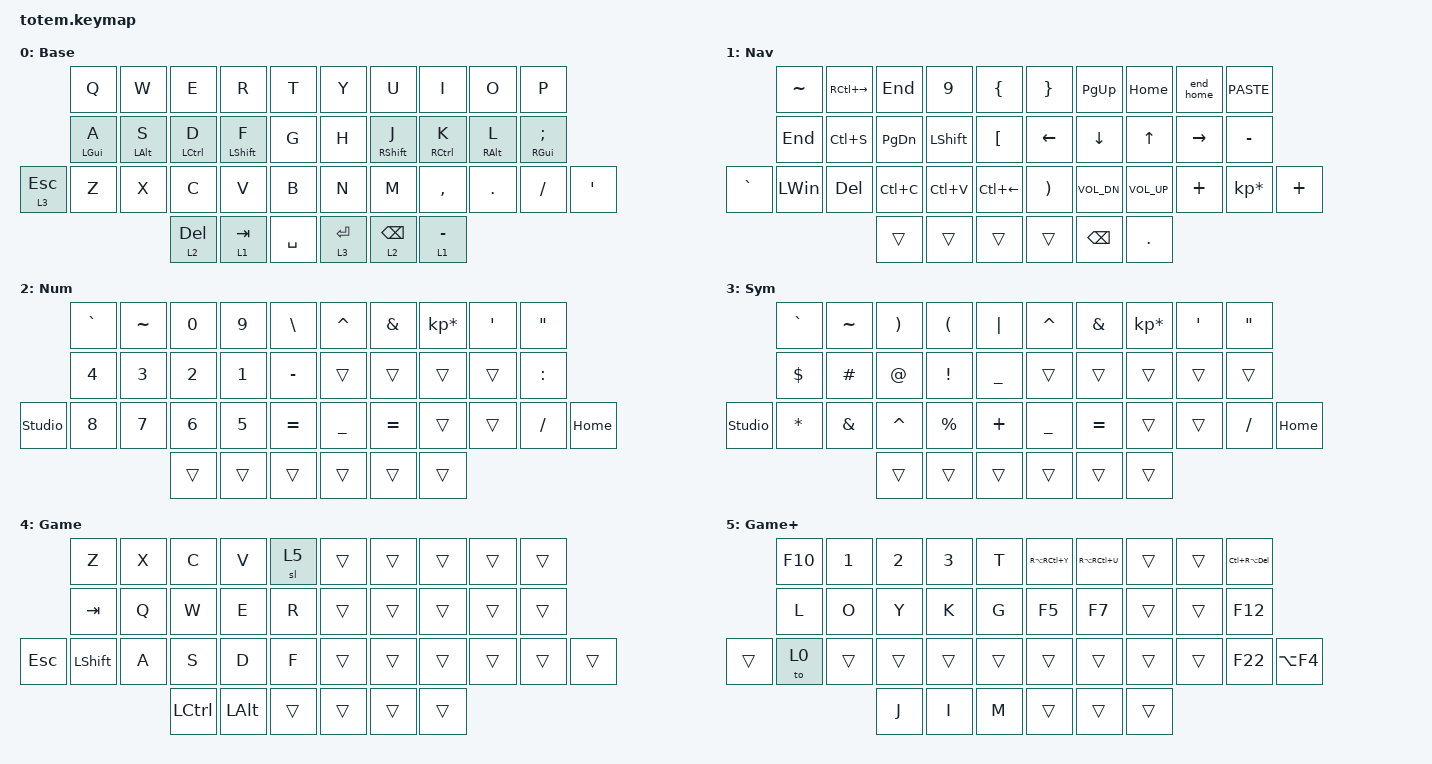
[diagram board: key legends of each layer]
//
//                                                        ▀▀▀▀▀     ▀▀▀▀▀          ▀▀█▀▀
//                                                        ▄▀▀▀▄  ▄  ▄▀▀▀▄  ▄  ▄▀▀▀▄  █  ▄▀▀▀▄
//                                                        █   █  █  █   █  █  █   █  █  █   █
//                                                         ▀▀▀   █   ▀▀▀   █   ▀▀▀   ▀   ▀▀▀
//                                                               █      ▄▄▄█▄▄▄    █   █  
//                                                               ▀      █  █  █     █▄█
//                                                             ▀▀▀▀▀    █  █  █      ▀
//                                                                      ▀  ▀  ▀
//
// ▄▄▄▄▄▄▄▄▄▄▄▄▄▄▄▄▄▄▄▄▄▄▄▄▄▄▄▄▄▄▄▄▄▄▄▄▄▄▄▄▄▄▄▄▄▄▄▄▄▄▄▄▄▄▄▄▄▄▄▄▄▄▄▄▄▄▄▄▄▄▄▄▄▄▄▄▄▄▄▄▄▄▄▄▄▄▄▄▄▄▄▄▄▄▄▄▄▄▄▄▄▄▄▄▄▄▄▄▄▄▄▄▄▄▄▄▄▄▄▄▄▄▄▄▄▄▄▄▄▄▄▄▄▄▄▄▄▄▄▄▄▄▄▄▄▄▄▄▄

#include <behaviors.dtsi>
#include <dt-bindings/zmk/keys.h>

#define Base        0
#define Nav         1
#define Num         2
#define Sym         3
#define Game        4
#define Gameplus    5

&mt {
    quick-tap-ms = <100>;
    global-quick-tap;
    flavor = "tap-preferred";
    tapping-term-ms = <170>;
};

&lt {
    tapping-term-ms = <240>;
    flavor = "balanced";
    quick-tap-ms = <150>;
};

/ {
    behaviors {
        hm: homerow_mods {
            compatible = "zmk,behavior-hold-tap";
            label = "HOMEROW_MODS";
            #binding-cells = <2>;
            flavor = "tap-preferred";
            tapping-term-ms = <200>;
            quick-tap-ms = <125>;
            global-quick-tap;
            bindings = <&kp>, <&kp>;
        };

        mod_tap_layer: mod_tap_layer {
            compatible = "zmk,behavior-hold-tap";
            label = "MOD_TAP_LAYER";
            bindings = <&test>, <&kp>;

            #binding-cells = <2>;
            tapping-term-ms = <200>;
            flavor = "tap-preferred";
        };
    };

    combos {
        compatible = "zmk,combos";

        caps_word_toggle {
            bindings = <&caps_word>;
            key-positions = <13 16>;
        };

        left_bracket {
            bindings = <&kp LEFT_BRACKET>;
            key-positions = <13 12>;
        };

        right_bracket {
            bindings = <&kp RIGHT_BRACKET>;
            key-positions = <16 17>;
        };

        l_prn_combo {
            bindings = <&kp LEFT_PARENTHESIS>;
            key-positions = <2 1>;
        };

        r_prn_combo {
            bindings = <&kp RIGHT_PARENTHESIS>;
            key-positions = <7 8>;
        };
    };

    macros {
        end_home: end_home {
            compatible = "zmk,behavior-macro";
            #binding-cells = <0>;
            bindings = <&kp END &kp ENTER>;
            label = "END_HOME";
        };

        thumb_mod_macro: thumb_mod_macro {
            compatible = "zmk,behavior-macro-two-param";
            #binding-cells = <2>;
            bindings =
                <&macro_param_1to1>,
                <&macro_press>,
                <&mo MACRO_PLACEHOLDER &macro_param_2to1>,
                <&macro_press>,
                <&kp MACRO_PLACEHOLDER>,
                <&macro_pause_for_release>,
                <&macro_param_2to1 &kp MACRO_PLACEHOLDER &macro_param_1to1>,
                <&macro_release>,
                <&mo MACRO_PLACEHOLDER>,
                <&macro_press>;

            label = "THUMB_MOD_MACRO";
            wait-ms = <0>;
            tap-ms = <0>;
        };

        test: test {
            compatible = "zmk,behavior-macro-one-param";
            #binding-cells = <1>;
            bindings = <&macro_param_1to2 &thumb_mod_macro 2 MACRO_PLACEHOLDER>;
            label = "TEST";
        };
    };

    keymap {
        compatible = "zmk,keymap";

        Base {
            display-name = "Base";
            bindings = <
              &kp Q       &kp W       &kp E        &kp R         &kp T        &kp Y         &kp U            &kp I        &kp O       &kp P
              &hm LGUI A  &hm LALT S  &hm LCTRL D  &hm LSHIFT F  &kp G        &kp H         &hm RSHFT J      &hm RCTRL K  &hm RALT L  &hm RGUI SEMICOLON
&lt 3 ESCAPE  &kp Z       &kp X       &kp C        &kp V         &kp B        &kp N         &kp M            &kp COMMA    &kp DOT     &kp SLASH           &kp APOSTROPHE
                                      &lt 2 DEL    &lt 1 TAB     &kp SPACE    &lt 3 RETURN  &lt 2 BACKSPACE  &lt 1 MINUS
            >;
        };

        Nav {
            display-name = "Nav";
            bindings = <
           &kp TILDE     &kp RC(RIGHT_ARROW)  &kp END        &kp N9     &kp LBRC              &kp RBRC        &kp PAGE_UP     &kp HOME      &end_home        &kp K_PASTE
           &kp END       &kp LC(S)            &kp PAGE_DOWN  &kp LSHFT  &kp LBKT              &kp LEFT_ARROW  &kp DOWN_ARROW  &kp UP_ARROW  &kp RIGHT_ARROW  &kp MINUS
&kp GRAVE  &kp LEFT_WIN  &kp DELETE           &kp LC(C)      &kp LC(V)  &kp LC(LEFT_ARROW)    &kp RPAR        &kp C_VOL_DN    &kp C_VOL_UP  &kp PLUS         &kp KP_MULTIPLY  &kp PLUS
                                              &trans         &trans     &trans                &trans          &kp BACKSPACE   &kp DOT
            >;
        };

        Num {
            display-name = "Num";
            bindings = <
                &kp GRAVE     &kp TILDE     &kp N0        &kp N9        &kp BACKSLASH    &kp CARET  &kp AMPERSAND  &kp KP_ASTERISK  &kp SQT  &kp DQT
                &kp NUMBER_4  &kp NUMBER_3  &kp NUMBER_2  &kp NUMBER_1  &kp MINUS        &trans     &trans         &trans           &trans   &kp COLON
&studio_unlock  &kp N8        &kp N7        &kp NUMBER_6  &kp N5        &kp EQUAL        &kp UNDER  &kp EQUAL      &trans           &trans   &kp SLASH  &kp HOME
                                            &trans        &trans        &trans           &trans     &trans         &trans
            >;
        };

        Sym {
            display-name = "Sym";
            bindings = <
                &kp GRAVE   &kp TILDE  &kp RPAR   &kp LPAR   &kp PIPE     &kp CARET  &kp AMPERSAND  &kp KP_ASTERISK  &kp SQT  &kp DQT
                &kp DOLLAR  &kp HASH   &kp AT     &kp EXCL   &kp UNDER    &trans     &trans         &trans           &trans   &trans
&studio_unlock  &kp STAR    &kp AMPS   &kp CARET  &kp PRCNT  &kp PLUS     &kp UNDER  &kp EQUAL      &trans           &trans   &kp SLASH  &kp HOME
                                       &trans     &trans     &trans       &trans     &trans         &trans
            >;
        };

        Gaming {
            display-name = "Game";
            bindings = <
            &kp Z           &kp X  &kp C      &kp V         &sl 5     &trans  &trans  &trans  &trans  &trans
            &kp TAB         &kp Q  &kp W      &kp E         &kp R     &trans  &trans  &trans  &trans  &trans
&kp ESCAPE  &kp LEFT_SHIFT  &kp A  &kp S      &kp D         &kp F     &trans  &trans  &trans  &trans  &trans  &trans
                                   &kp LCTRL  &kp LEFT_ALT  &trans    &trans  &trans  &trans
            >;
        };

        Gaming+ {
            display-name = "Game+";
            bindings = <
        &kp F10  &kp NUMBER_1  &kp NUMBER_2  &kp NUMBER_3  &kp T     &kp RA(RC(Y))  &kp RA(RC(U))  &trans  &trans  &kp LC(RA(DEL))
        &kp L    &kp O         &kp Y         &kp K         &kp G     &kp F5         &kp F7         &trans  &trans  &kp F12
&trans  &to 0    &trans        &trans        &trans        &trans    &trans         &trans         &trans  &trans  &kp F22          &kp LA(F4)
                               &kp J         &kp I         &kp M     &trans         &trans         &trans
            >;
        };
    };
};
